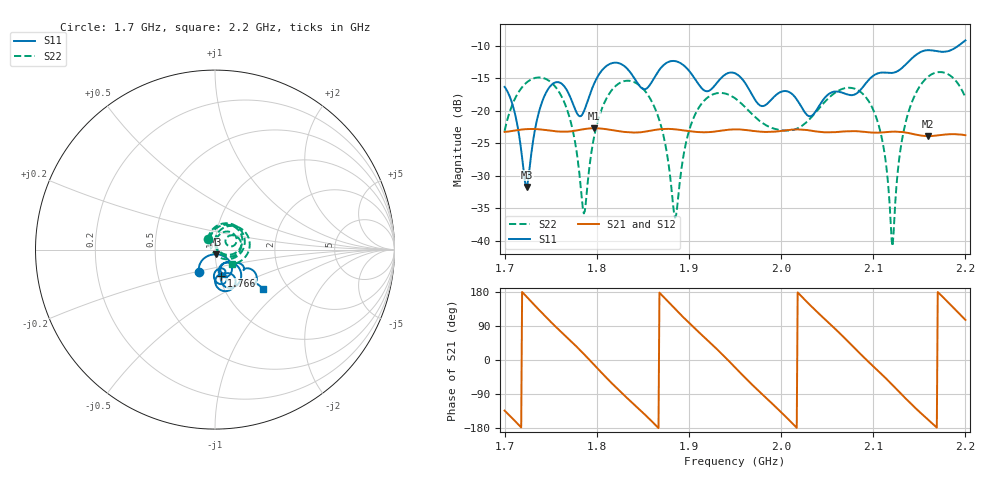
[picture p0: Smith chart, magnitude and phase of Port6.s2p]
# Hz S RI R 50
! CMT, CMT808U, 21440046, 21.4.3/4
! Date: 12/13/2025 10:48:42 PM
! Data: Format (Calibration Info)
! Freq	S11:Re/Im(F2)	S41:Re/Im(F2)	S14:Re/Im(F2)	S44:Re/Im(F2)
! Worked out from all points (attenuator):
!   501 points, 1.7 GHz to 2.2 GHz, reference 50 ohm
!   highest |S21| = -22.69 dB at 1.797 GHz (marker M1); lowest = -23.9 dB at 2.159 GHz (marker M2)
!   lowest |S11| = -31.7 dB at 1.724 GHz (marker M3), VSWR 1.05, Z = 50.2 - j2.6 ohm
!   |S11| at or under -10 dB: start of sweep to 2.193 GHz
!   |S22| runs from -40.8 to -14.1 dB; largest |S21 - S12| = 0.00038
!   S11 on the Smith chart (normalised r, x): 1.7 GHz: 0.82, -0.21; 1.766 GHz: 1.02, -0.31; 2.2 GHz: 1.49, -0.75
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1.7e9  -0.0875 -0.1246  -0.0474 -0.0498  -0.0471 -0.0497  -0.0385 0.0586
1.724e9  0.00281 -0.0259  -0.0703 0.0167  -0.0701 0.0165  0.0764 0.1462
1.742e9  0.0912 -0.0838  -0.0364 0.0616  -0.0364 0.0614  0.1613 0.0753
1.766e9  0.033 -0.146  0.0309 0.0617  0.0307 0.0616  0.0988 -0.0493
1.784e9  0.0573 -0.0731  0.0671 0.0256  0.0669 0.0257  -0.0057 -0.0195
1.787e9  0.075 -0.0703  0.0703 0.0167  0.0702 0.0168  -0.0164 -0.00404
1.797e9  0.1289 -0.0956  0.0717 -0.0157  0.0715 -0.0156  -0.0283 0.0557
1.829e9  0.0689 -0.2116  -0.00159 -0.0689  -0.00151 -0.0687  0.1152 0.1225
1.851e9  0.0544 -0.1358  -0.0537 -0.0431  -0.0535 -0.0432  0.1444 0.0165
1.867e9  0.1139 -0.1662  -0.0719 -0.000276  -0.0718 -0.000454  0.0837 -0.0286
1.885e9  0.0666 -0.2309  -0.0506 0.0512  -0.0506 0.051  0.0136 0.00652
1.908e9  0.0019 -0.1694  0.0122 0.0676  0.0121 0.0675  0.0348 0.0912
1.95e9  0.0276 -0.1919  0.0679 -0.0239  0.0678 -0.0236  0.1183 0.0392
1.995e9  0.0577 -0.1197  -0.0404 -0.0562  -0.0402 -0.0562  0.0667 0.0271
2.034e9  0.0564 -0.073  -0.0527 0.0461  -0.0528 0.0459  0.0638 0.0647
2.09e9  0.1359 -0.0763  0.0683 0.00798  0.0683 0.00815  0.1307 -0.017
2.107e9  0.1617 -0.1094  0.0571 -0.0367  0.0572 -0.0364  0.0614 -0.0384
2.117e9  0.1588 -0.113  0.0381 -0.0573  0.0382 -0.0571  0.0192 -0.0127
2.121e9  0.1615 -0.1096  0.0279 -0.0631  0.0281 -0.063  0.00769 0.00492
2.134e9  0.1948 -0.1066  -0.0102 -0.0675  -0.00999 -0.0674  0.00558 0.0749
2.159e9  0.2261 -0.1838  -0.0584 -0.0258  -0.0583 -0.026  0.1318 0.1241
2.2e9  0.2653 -0.2223  -0.0177 0.0624  -0.0179 0.0623  0.097 -0.081
